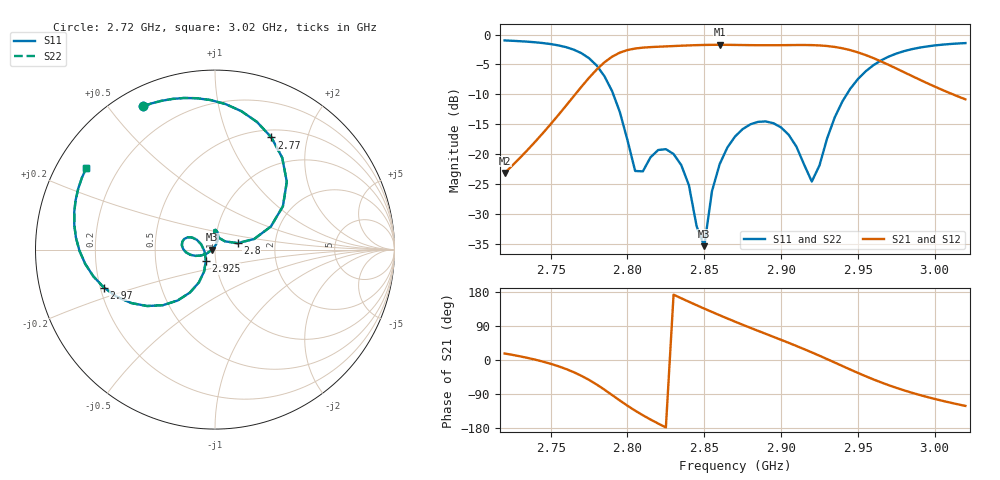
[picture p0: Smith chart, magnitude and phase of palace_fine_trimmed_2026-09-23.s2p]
!Palace fine mesh, fabricated cascade N=3 (end cavities trimmed -0.3 mm), CPWG + Taoglas SMA. Run 2026-09-23 (final_check_lcav1-0.30). S11 and S21 are from the driven solve (port-S.csv); S22 = S11 and S12 = S21 by the mirror symmetry of the design (not solved separately).
! Created with skrf 2.1.0 (http://scikit-rf.org).
# Hz S RI R 50.0
!freq ReS11 ImS11 ReS21 ImS21 ReS12 ImS12 ReS22 ImS22
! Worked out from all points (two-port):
!   61 points, 2.72 GHz to 3.02 GHz, reference 50 ohm
!   highest |S21| = -1.70 dB at 2.86 GHz (marker M1); lowest = -23.2 dB at 2.72 GHz (marker M2)
!   |S21| within 3 dB of the highest: 2.785 GHz to 2.967 GHz (182.3 MHz wide, 6.34 % of centre)
!   lowest |S11| = -35.4 dB at 2.85 GHz (marker M3), VSWR 1.03, Z = 48.3 - j0.095 ohm
!   |S11| at or under -10 dB: 2.791 GHz to 2.943 GHz (152 MHz wide, 5.3 % of centre)
!   |S22| runs from -35.4 to -1.0 dB; largest |S21 - S12| = 0
!   S11 on the Smith chart (normalised r, x): 2.72 GHz: 0.08, +0.61; 2.77 GHz: 0.59, +1.45; 2.8 GHz: 1.28, +0.09; 2.925 GHz: 0.90, -0.11; 2.97 GHz: 0.21, -0.16; 3.02 GHz: 0.09, +0.29
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2.72e9  -0.4015 0.7984  0.0663 0.0205  0.0663 0.0205  -0.4015 0.7984
2.75e9  -0.0249 0.8333  0.1754 -0.031  0.1754 -0.031  -0.0249 0.8333
2.77e9  0.3142 0.6249  0.2731 -0.2432  0.2731 -0.2432  0.3142 0.6249
2.785e9  0.3783 0.2413  0.1188 -0.5745  0.1188 -0.5745  0.3783 0.2413
2.8e9  0.1257 0.036  -0.3785 -0.639  -0.3785 -0.639  0.1257 0.036
2.805e9  0.0555 0.0461  -0.5283 -0.5534  -0.5283 -0.5534  0.0555 0.0461
2.82e9  -0.00417 0.1081  -0.7738 -0.1684  -0.7738 -0.1684  -0.00417 0.1081
2.835e9  0.0175 0.079  -0.7721 0.2366  -0.7721 0.2366  0.0175 0.079
2.85e9  -0.0169 -0.000982  -0.5857 0.5733  -0.5857 0.5733  -0.0169 -0.000982
2.855e9  -0.0442 -0.0208  -0.4919 0.6578  -0.4919 0.6578  -0.0442 -0.0208
2.86e9  -0.0756 -0.0326  -0.3873 0.7248  -0.3873 0.7248  -0.0756 -0.0326
2.87e9  -0.1372 -0.0289  -0.1599 0.8042  -0.1599 0.8042  -0.1372 -0.0289
2.885e9  -0.1846 0.0238  0.1837 0.7944  0.1837 0.7944  -0.1846 0.0238
2.9e9  -0.1525 0.0684  0.4887 0.6534  0.4887 0.6534  -0.1525 0.0684
2.91e9  -0.1015 0.0548  0.6537 0.4924  0.6537 0.4924  -0.1015 0.0548
2.92e9  -0.0579 -0.0108  0.7673 0.2803  0.7673 0.2803  -0.0579 -0.0108
2.925e9  -0.051 -0.0621  0.7964 0.159  0.7964 0.159  -0.051 -0.0621
2.935e9  -0.0898 -0.1829  0.7831 -0.0933  0.7831 -0.0933  -0.0898 -0.1829
2.945e9  -0.2081 -0.2835  0.6721 -0.3144  0.6721 -0.3144  -0.2081 -0.2835
2.97e9  -0.6192 -0.2112  0.2236 -0.5117  0.2236 -0.5117  -0.6192 -0.2112
2.99e9  -0.7747 0.0659  -0.0148 -0.4208  -0.0148 -0.4208  -0.7747 0.0659
3.02e9  -0.716 0.4573  -0.1487 -0.2459  -0.1487 -0.2459  -0.716 0.4573
